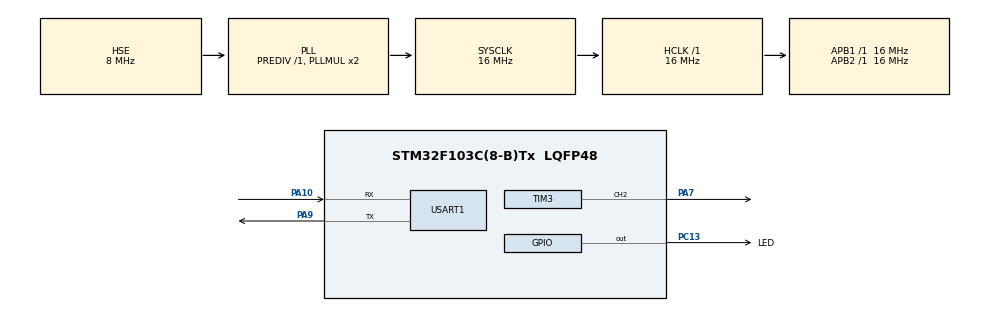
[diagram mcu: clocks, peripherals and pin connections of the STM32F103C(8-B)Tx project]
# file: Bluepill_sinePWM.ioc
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Mcu.Family=STM32F1
Mcu.Name=STM32F103C(8-B)Tx
Mcu.Package=LQFP48
NVIC.PriorityGroup=NVIC_PRIORITYGROUP_4
NVIC.TIM4_IRQn=true\:0\:0\:false\:false\:true\:true\:true\:true
PA10.Mode=Asynchronous
PA10.Signal=USART1_RX
PA13.Mode=Serial_Wire
PA13.Signal=SYS_JTMS-SWDIO
PA14.Mode=Serial_Wire
PA14.Signal=SYS_JTCK-SWCLK
PA7.Signal=S_TIM3_CH2
PA9.Mode=Asynchronous
PA9.Signal=USART1_TX
PC13-TAMPER-RTC.GPIO_Label=LED
PC13-TAMPER-RTC.Signal=GPIO_Output
PD0-OSC_IN.Mode=HSE-External-Oscillator
PD0-OSC_IN.Signal=RCC_OSC_IN
PD1-OSC_OUT.Mode=HSE-External-Oscillator
PD1-OSC_OUT.Signal=RCC_OSC_OUT
ProjectManager.HeapSize=0x200
ProjectManager.StackSize=0x400
ProjectManager.TargetToolchain=STM32CubeIDE
RCC.AHBFreq_Value=16000000
RCC.APB1Freq_Value=16000000
RCC.APB1TimFreq_Value=16000000
RCC.APB2Freq_Value=16000000
RCC.APB2TimFreq_Value=16000000
RCC.HCLKFreq_Value=16000000
RCC.PLLSourceVirtual=RCC_PLLSOURCE_HSE
RCC.SYSCLKFreq_VALUE=16000000
RCC.SYSCLKSource=RCC_SYSCLKSOURCE_PLLCLK
RCC.USBFreq_Value=16000000
SH.S_TIM3_CH2.0=TIM3_CH2,PWM Generation2 CH2
TIM3.Channel-PWM\ Generation2\ CH2=TIM_CHANNEL_2
TIM3.Period=100-1
TIM3.Prescaler=160-1
TIM4.Period=100-1
TIM4.Prescaler=16000-1
USART1.VirtualMode=VM_ASYNC
VP_TIM3_VS_ClockSourceINT.Mode=Internal
VP_TIM4_VS_ClockSourceINT.Mode=Internal
board=custom

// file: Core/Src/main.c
/* USER CODE BEGIN Header */
/**
  ******************************************************************************
  * @file           : main.c
  * @brief          : Main program body
  ******************************************************************************
  * @attention
  *
  * Copyright (c) 2025 STMicroelectronics.
  * All rights reserved.
  *
  * This software is licensed under terms that can be found in the LICENSE file
  * in the root directory of this software component.
  * If no LICENSE file comes with this software, it is provided AS-IS.
  *
  ******************************************************************************
  */
/* USER CODE END Header */
#include "main.h"

/* USER CODE BEGIN Includes */
#include <stdio.h>
#include <math.h>

/* USER CODE END Includes */

/* USER CODE BEGIN PD */
#define SINE_STEPS 50

/* USER CODE END PD */

TIM_HandleTypeDef htim3;
TIM_HandleTypeDef htim4;

UART_HandleTypeDef huart1;

/* USER CODE BEGIN PV */
uint8_t lookup[SINE_STEPS], iterator=0;

/* USER CODE END PV */

void SystemClock_Config(void);
static void MX_GPIO_Init(void);
static void MX_TIM3_Init(void);
static void MX_TIM4_Init(void);
static void MX_USART1_UART_Init(void);

/* USER CODE BEGIN 0 */
void generate_sine_lookup_table(){
	for(int i=0;i<SINE_STEPS;i++){
		float angle=(2.0f*M_PI*i)/SINE_STEPS;
		lookup[i]=(sin(angle)+1.0f)*49.5f;
	}
}

void HAL_TIM_PeriodElapsedCallback(TIM_HandleTypeDef *htim){
	if(htim->Instance==TIM4){
		if(iterator>=SINE_STEPS) iterator=0;

		__HAL_TIM_SET_COMPARE(&htim3, TIM_CHANNEL_2, lookup[iterator]);
		iterator++;
	}
}

int _write(int fd, char *ptr, int len) {
    HAL_StatusTypeDef hstatus;

    if (fd == 1 || fd == 2) {
      hstatus = HAL_UART_Transmit(&huart1, (uint8_t *) ptr, len, HAL_MAX_DELAY);
      if (hstatus == HAL_OK)
        return len;
      else
        return -1;
    }
    return -1;
}

/* USER CODE END 0 */

int main(void)
{

  /* MCU Configuration--------------------------------------------------------*/

  /* Reset of all peripherals, Initializes the Flash interface and the Systick. */
  HAL_Init();

  /* Configure the system clock */
  SystemClock_Config();

  /* Initialize all configured peripherals */
  MX_GPIO_Init();
  MX_TIM3_Init();
  MX_TIM4_Init();
  MX_USART1_UART_Init();
  /* USER CODE BEGIN 2 */
  generate_sine_lookup_table();
  HAL_TIM_Base_Start_IT(&htim4);
  HAL_TIM_PWM_Start(&htim3, TIM_CHANNEL_2);

  uint32_t now=0, nextTick=1000, loopCount=0, nextBlink=500;

  /* USER CODE END 2 */

  /* Infinite loop */
  /* USER CODE BEGIN WHILE */
  while (1)
  {
	  now=uwTick;

	 	  if(now>=nextTick){
	 		  printf("Tick: %lu, Loop: %lu, Lookup Value: %u\r\n", now/1000, loopCount, lookup[iterator]);
	 		  nextTick=now+1000;
	 		  loopCount=0;
	 	  }

	 	  if(now>nextBlink){
	 		  HAL_GPIO_TogglePin(LED_GPIO_Port, LED_Pin);
	 		  nextBlink=now+500;
	 	  }

	 	 loopCount++;
    /* USER CODE END WHILE */

  }
}

void SystemClock_Config(void)
{
  RCC_OscInitTypeDef RCC_OscInitStruct = {0};
  RCC_ClkInitTypeDef RCC_ClkInitStruct = {0};

  /** Initializes the RCC Oscillators according to the specified parameters
  * in the RCC_OscInitTypeDef structure.
  */
  RCC_OscInitStruct.OscillatorType = RCC_OSCILLATORTYPE_HSE;
  RCC_OscInitStruct.HSEState = RCC_HSE_ON;
  RCC_OscInitStruct.HSEPredivValue = RCC_HSE_PREDIV_DIV1;
  RCC_OscInitStruct.HSIState = RCC_HSI_ON;
  RCC_OscInitStruct.PLL.PLLState = RCC_PLL_ON;
  RCC_OscInitStruct.PLL.PLLSource = RCC_PLLSOURCE_HSE;
  RCC_OscInitStruct.PLL.PLLMUL = RCC_PLL_MUL2;
  if (HAL_RCC_OscConfig(&RCC_OscInitStruct) != HAL_OK)
  {
    Error_Handler();
  }

  /** Initializes the CPU, AHB and APB buses clocks
  */
  RCC_ClkInitStruct.ClockType = RCC_CLOCKTYPE_HCLK|RCC_CLOCKTYPE_SYSCLK
                              |RCC_CLOCKTYPE_PCLK1|RCC_CLOCKTYPE_PCLK2;
  RCC_ClkInitStruct.SYSCLKSource = RCC_SYSCLKSOURCE_PLLCLK;
  RCC_ClkInitStruct.AHBCLKDivider = RCC_SYSCLK_DIV1;
  RCC_ClkInitStruct.APB1CLKDivider = RCC_HCLK_DIV1;
  RCC_ClkInitStruct.APB2CLKDivider = RCC_HCLK_DIV1;

  if (HAL_RCC_ClockConfig(&RCC_ClkInitStruct, FLASH_LATENCY_0) != HAL_OK)
  {
    Error_Handler();
  }
}

static void MX_TIM3_Init(void)
{

  TIM_ClockConfigTypeDef sClockSourceConfig = {0};
  TIM_MasterConfigTypeDef sMasterConfig = {0};
  TIM_OC_InitTypeDef sConfigOC = {0};

  htim3.Instance = TIM3;
  htim3.Init.Prescaler = 160-1;
  htim3.Init.CounterMode = TIM_COUNTERMODE_UP;
  htim3.Init.Period = 100-1;
  htim3.Init.ClockDivision = TIM_CLOCKDIVISION_DIV1;
  htim3.Init.AutoReloadPreload = TIM_AUTORELOAD_PRELOAD_DISABLE;
  if (HAL_TIM_Base_Init(&htim3) != HAL_OK)
  {
    Error_Handler();
  }
  sClockSourceConfig.ClockSource = TIM_CLOCKSOURCE_INTERNAL;
  if (HAL_TIM_ConfigClockSource(&htim3, &sClockSourceConfig) != HAL_OK)
  {
    Error_Handler();
  }
  if (HAL_TIM_PWM_Init(&htim3) != HAL_OK)
  {
    Error_Handler();
  }
  sMasterConfig.MasterOutputTrigger = TIM_TRGO_RESET;
  sMasterConfig.MasterSlaveMode = TIM_MASTERSLAVEMODE_DISABLE;
  if (HAL_TIMEx_MasterConfigSynchronization(&htim3, &sMasterConfig) != HAL_OK)
  {
    Error_Handler();
  }
  sConfigOC.OCMode = TIM_OCMODE_PWM1;
  sConfigOC.Pulse = 0;
  sConfigOC.OCPolarity = TIM_OCPOLARITY_HIGH;
  sConfigOC.OCFastMode = TIM_OCFAST_DISABLE;
  if (HAL_TIM_PWM_ConfigChannel(&htim3, &sConfigOC, TIM_CHANNEL_2) != HAL_OK)
  {
    Error_Handler();
  }
  HAL_TIM_MspPostInit(&htim3);

}

static void MX_TIM4_Init(void)
{

  TIM_ClockConfigTypeDef sClockSourceConfig = {0};
  TIM_MasterConfigTypeDef sMasterConfig = {0};

  htim4.Instance = TIM4;
  htim4.Init.Prescaler = 16000-1;
  htim4.Init.CounterMode = TIM_COUNTERMODE_UP;
  htim4.Init.Period = 100-1;
  htim4.Init.ClockDivision = TIM_CLOCKDIVISION_DIV1;
  htim4.Init.AutoReloadPreload = TIM_AUTORELOAD_PRELOAD_DISABLE;
  if (HAL_TIM_Base_Init(&htim4) != HAL_OK)
  {
    Error_Handler();
  }
  sClockSourceConfig.ClockSource = TIM_CLOCKSOURCE_INTERNAL;
  if (HAL_TIM_ConfigClockSource(&htim4, &sClockSourceConfig) != HAL_OK)
  {
    Error_Handler();
  }
  sMasterConfig.MasterOutputTrigger = TIM_TRGO_RESET;
  sMasterConfig.MasterSlaveMode = TIM_MASTERSLAVEMODE_DISABLE;
  if (HAL_TIMEx_MasterConfigSynchronization(&htim4, &sMasterConfig) != HAL_OK)
  {
    Error_Handler();
  }

}

static void MX_USART1_UART_Init(void)
{

  huart1.Instance = USART1;
  huart1.Init.BaudRate = 115200;
  huart1.Init.WordLength = UART_WORDLENGTH_8B;
  huart1.Init.StopBits = UART_STOPBITS_1;
  huart1.Init.Parity = UART_PARITY_NONE;
  huart1.Init.Mode = UART_MODE_TX_RX;
  huart1.Init.HwFlowCtl = UART_HWCONTROL_NONE;
  huart1.Init.OverSampling = UART_OVERSAMPLING_16;
  if (HAL_UART_Init(&huart1) != HAL_OK)
  {
    Error_Handler();
  }

}

static void MX_GPIO_Init(void)
{
  GPIO_InitTypeDef GPIO_InitStruct = {0};

  /* GPIO Ports Clock Enable */
  __HAL_RCC_GPIOC_CLK_ENABLE();
  __HAL_RCC_GPIOD_CLK_ENABLE();
  __HAL_RCC_GPIOA_CLK_ENABLE();

  /*Configure GPIO pin Output Level */
  HAL_GPIO_WritePin(LED_GPIO_Port, LED_Pin, GPIO_PIN_RESET);

  /*Configure GPIO pin : LED_Pin */
  GPIO_InitStruct.Pin = LED_Pin;
  GPIO_InitStruct.Mode = GPIO_MODE_OUTPUT_PP;
  GPIO_InitStruct.Pull = GPIO_NOPULL;
  GPIO_InitStruct.Speed = GPIO_SPEED_FREQ_LOW;
  HAL_GPIO_Init(LED_GPIO_Port, &GPIO_InitStruct);

}

void Error_Handler(void)
{
  __disable_irq();
  while (1)
  {
  }
}
